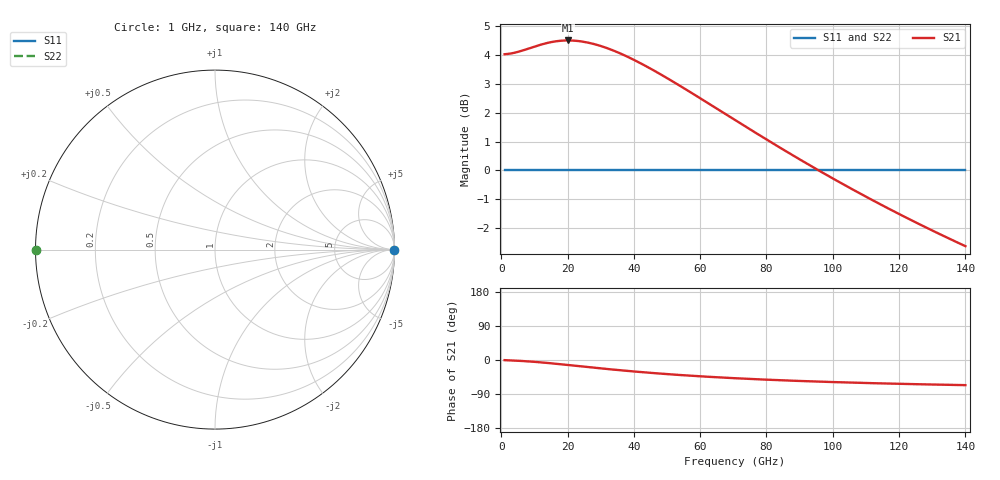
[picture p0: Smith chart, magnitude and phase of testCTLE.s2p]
! File created by SignalIntegrity v1.1.14: Signal and Power Integrity Tools
! https://github.com/TeledyneLeCroy/SignalIntegrity
# MHz S MA R 50.0
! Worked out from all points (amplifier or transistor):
!   140 points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, 1 GHz to 140 GHz, reference 50 ohm
!   highest |S21| = 4.5 dB at 20 GHz (marker M1)
!   |S21| within 3 dB of that: start of sweep to 73.94 GHz
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1000  1 0.0  1.589 -0.4  0 0.0  1 180.0
6000  1 0.0  1.61 -2.5  0 0.0  1 180.0
10000  1 0.0  1.638 -4.8  0 0.0  1 180.0
15000  1 0.0  1.668 -8.7  0 0.0  1 180.0
18000  1 0.0  1.677 -11.3  0 0.0  1 180.0
20000  1 0.0  1.679 -13.1  0 0.0  1 180.0
25000  1 0.0  1.669 -17.6  0 0.0  1 180.0
31000  1 0.0  1.635 -23.0  0 0.0  1 180.0
36000  1 0.0  1.593 -27.1  0 0.0  1 180.0
42000  1 0.0  1.533 -31.8  0 0.0  1 180.0
48000  1 0.0  1.468 -35.9  0 0.0  1 180.0
53000  1 0.0  1.411 -39.1  0 0.0  1 180.0
58000  1 0.0  1.356 -41.9  0 0.0  1 180.0
64000  1 0.0  1.29 -45.1  0 0.0  1 180.0
71000  1 0.0  1.218 -48.3  0 0.0  1 180.0
76000  1 0.0  1.169 -50.4  0 0.0  1 180.0
82000  1 0.0  1.113 -52.6  0 0.0  1 180.0
94000  1 0.0  1.013 -56.5  0 0.0  1 180.0
105000  1 0.0  0.9336 -59.5  0 0.0  1 180.0
117000  1 0.0  0.8578 -62.2  0 0.0  1 180.0
128000  1 0.0  0.7972 -64.4  0 0.0  1 180.0
140000  1 0.0  0.7394 -66.4  0 0.0  1 180.0
